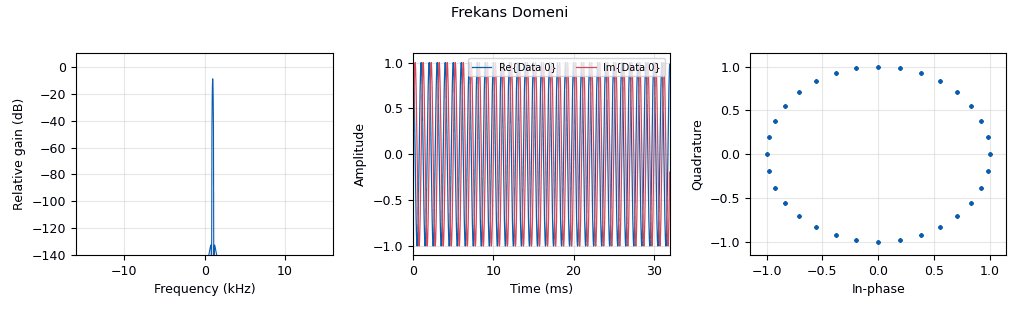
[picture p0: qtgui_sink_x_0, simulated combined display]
options:
  parameters:
    author: Pc
    generate_options: qt_gui
    id: cosine_wave
    output_language: python
    title: Not titled yet
  states: {}

blocks:
- name: freq
  id: variable_qtgui_range
  parameters:
    label: Sinyal Frekansı
    start: '0'
    step: '1'
    stop: '5000'
    value: '1000'
    widget: slider
  states: {}
- name: samp_rate
  id: variable
  parameters:
    value: '32000'
  states: {}
- name: analog_sig_source_x_0
  id: analog_sig_source_x
  parameters:
    amp: '1'
    freq: freq
    offset: '0'
    phase: '0'
    samp_rate: samp_rate
    type: complex
    waveform: analog.GR_COS_WAVE
  states: {}
- name: blocks_throttle2_0
  id: blocks_throttle2
  parameters:
    samples_per_second: samp_rate
    type: complex
  states: {}
- name: qtgui_sink_x_0
  id: qtgui_sink_x
  parameters:
    bw: samp_rate
    fc: '0'
    fftsize: '1024'
    name: '"Frekans Domeni"'
    type: complex
  states: {}

connections:
- [analog_sig_source_x_0, '0', blocks_throttle2_0, '0']
- [blocks_throttle2_0, '0', qtgui_sink_x_0, '0']

metadata:
  file_format: 1
  grc_version: 3.10.12.0
